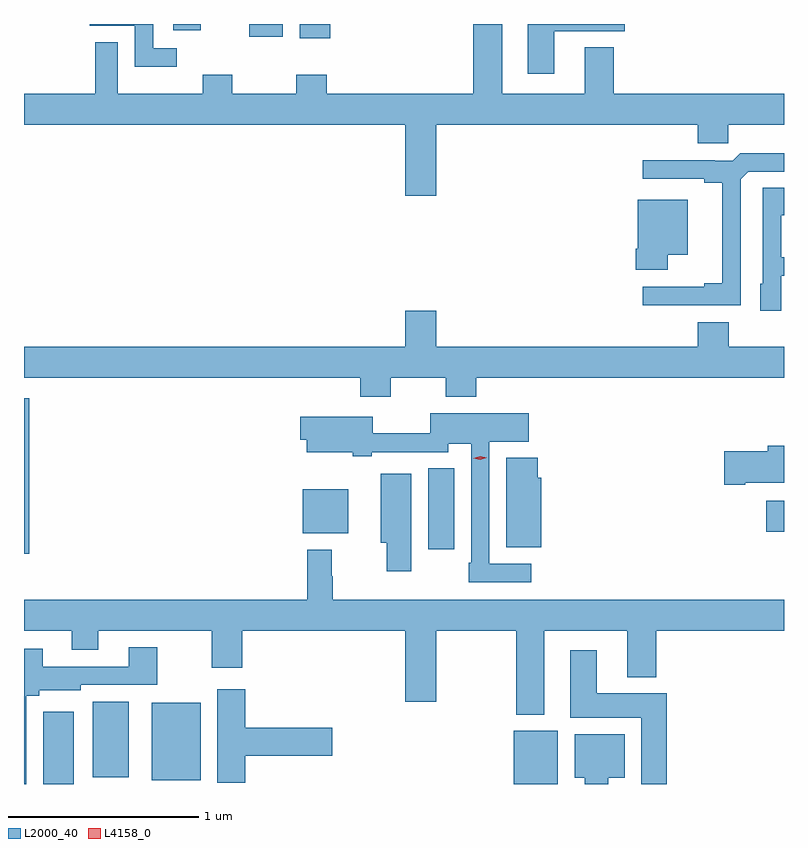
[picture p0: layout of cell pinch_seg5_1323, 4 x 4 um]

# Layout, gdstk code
import gdstk
lib = gdstk.Library(unit=1e-6, precision=1e-09)
def R(c, l, rs):  # rectangles x0, y0, x1, y1
    for r in rs: c.add(gdstk.rectangle(r[:2], r[2:], *l))
def P(c, l, *ps):  # polygons
    for p in ps: c.add(gdstk.Polygon(p, *l))
L2000_40 = (2000, 40)
L4158_0 = (4158, 0)

pinch_seg5_1323 = lib.new_cell('pinch_seg5_1323')
R(pinch_seg5_1323, L2000_40, [(270.995,899.91,271.156,900.289), (273.47,899.91,273.703,900.19), (271.565,899.93,271.822,900.337), (271.256,899.945,271.444,900.343), (270.893,901.122,270.92,901.939), (273.02,901.146,273.157,901.571), (272.36,901.229,272.599,901.462), (274.8,901.237,274.893,901.402), (272.345,903.834,272.506,903.91), (272.079,903.843,272.256,903.91), (271.679,903.876,271.822,903.91)])
P(pinch_seg5_1323, L2000_40, [(273.685,903.872),(274.055,903.872),(274.055,903.91),(273.545,903.91),(273.545,903.648),(273.685,903.648)],
  [(273.064,903.38),(274.439,903.38),(274.439,903.282),(274.599,903.282),(274.599,903.38),(274.893,903.38),(274.893,903.544),(273.998,903.544),(273.998,903.787),(273.845,903.787),(273.845,903.544),(273.409,903.544),(273.409,903.91),(273.257,903.91),(273.257,903.544),(272.486,903.544),(272.486,903.643),(272.326,903.643),(272.326,903.544),(271.989,903.544),(271.989,903.643),(271.834,903.643),(271.834,903.544),(271.387,903.544),(271.387,903.815),(271.269,903.815),(271.269,903.544),(270.893,903.544),(270.893,903.38),(272.9,903.38),(272.9,903.006),(273.064,903.006)],
  [(271.696,903.783),(271.572,903.783),(271.572,903.91),(271.239,903.91),(271.239,903.9),(271.476,903.9),(271.476,903.686),(271.696,903.686)],
  [(274.665,903.093),(274.704,903.132),(274.893,903.132),(274.893,903.229),(274.663,903.229),(274.623,903.189),(274.529,903.189),(274.529,903.194),(274.149,903.194),(274.149,903.096),(274.472,903.096),(274.472,903.074),(274.568,903.074),(274.568,902.546),(274.472,902.546),(274.472,902.526),(274.149,902.526),(274.149,902.43),(274.665,902.43)],
  [(274.878,902.585),(274.893,902.585),(274.893,902.682),(274.878,902.682),(274.878,902.904),(274.893,902.904),(274.893,903.047),(274.782,903.047),(274.782,902.544),(274.769,902.544),(274.769,902.4),(274.878,902.4)],
  [(274.282,902.696),(274.387,902.696),(274.387,902.986),(274.124,902.986),(274.124,902.728),(274.112,902.728),(274.112,902.616),(274.282,902.616)],
  [(272.823,902.048),(273.112,902.048),(273.112,901.949),(273.272,901.949),(273.272,902.048),(274.893,902.048),(274.893,902.212),(274.603,902.212),(274.603,902.341),(274.439,902.341),(274.439,902.212),(273.064,902.212),(273.064,902.401),(272.9,902.401),(272.9,902.212),(270.893,902.212),(270.893,902.048),(272.663,902.048),(272.663,901.949),(272.823,901.949)],
  [(273.562,901.068),(273.342,901.068),(273.342,901.712),(273.55,901.712),(273.55,901.861),(273.03,901.861),(273.03,901.757),(272.728,901.757),(272.728,901.843),(272.348,901.843),(272.348,901.721),(272.381,901.721),(272.381,901.655),(272.624,901.655),(272.624,901.636),(272.724,901.636),(272.724,901.656),(273.126,901.656),(273.126,901.7),(273.246,901.7),(273.246,901.075),(273.234,901.075),(273.234,900.972),(273.562,900.972)],
  [(274.69,901.496),(274.893,901.496),(274.893,901.69),(274.808,901.69),(274.808,901.662),(274.578,901.662),(274.578,901.484),(274.69,901.484)],
  [(273.616,901.521),(273.598,901.521),(273.598,901.627),(273.431,901.627),(273.431,901.157),(273.616,901.157)],
  [(272.932,901.543),(272.771,901.543),(272.771,901.181),(272.803,901.181),(272.803,901.029),(272.932,901.029)],
  [(273.631,900.716),(274.067,900.716),(274.067,900.473),(274.22,900.473),(274.22,900.716),(274.893,900.716),(274.893,900.88),(272.519,900.88),(272.519,901.004),(272.512,901.004),(272.512,901.144),(272.383,901.144),(272.383,900.88),(270.893,900.88),(270.893,900.716),(271.145,900.716),(271.145,900.617),(271.285,900.617),(271.285,900.716),(271.882,900.716),(271.882,900.522),(272.042,900.522),(272.042,900.716),(272.9,900.716),(272.9,900.342),(273.064,900.342),(273.064,900.716),(273.484,900.716),(273.484,900.275),(273.631,900.275)],
  [(270.906,900.374),(270.972,900.374),(270.972,900.404),(271.191,900.404),(271.191,900.432),(271.593,900.432),(271.593,900.631),(271.445,900.631),(271.445,900.528),(270.991,900.528),(270.991,900.622),(270.893,900.622),(270.893,899.91),(270.906,899.91)],
  [(274.277,900.388),(273.907,900.388),(273.907,900.613),(273.767,900.613),(273.767,900.26),(274.142,900.26),(274.142,899.91),(274.277,899.91)],
  [(272.057,900.059),(272.515,900.059),(272.515,900.206),(272.057,900.206),(272.057,900.409),(271.91,900.409),(271.91,899.917),(272.057,899.917)],
  [(273.967,899.942),(274.054,899.942),(274.054,900.172),(273.791,900.172),(273.791,899.942),(273.845,899.942),(273.845,899.91),(273.967,899.91)])
P(pinch_seg5_1323, L4158_0, [(273.293,901.616),(273.258,901.625),(273.258,901.625),(273.258,901.625),(273.293,901.636),(273.328,901.626),(273.328,901.626),(273.328,901.626)])

lib.write_gds('pinch_seg5_1323.gds')
